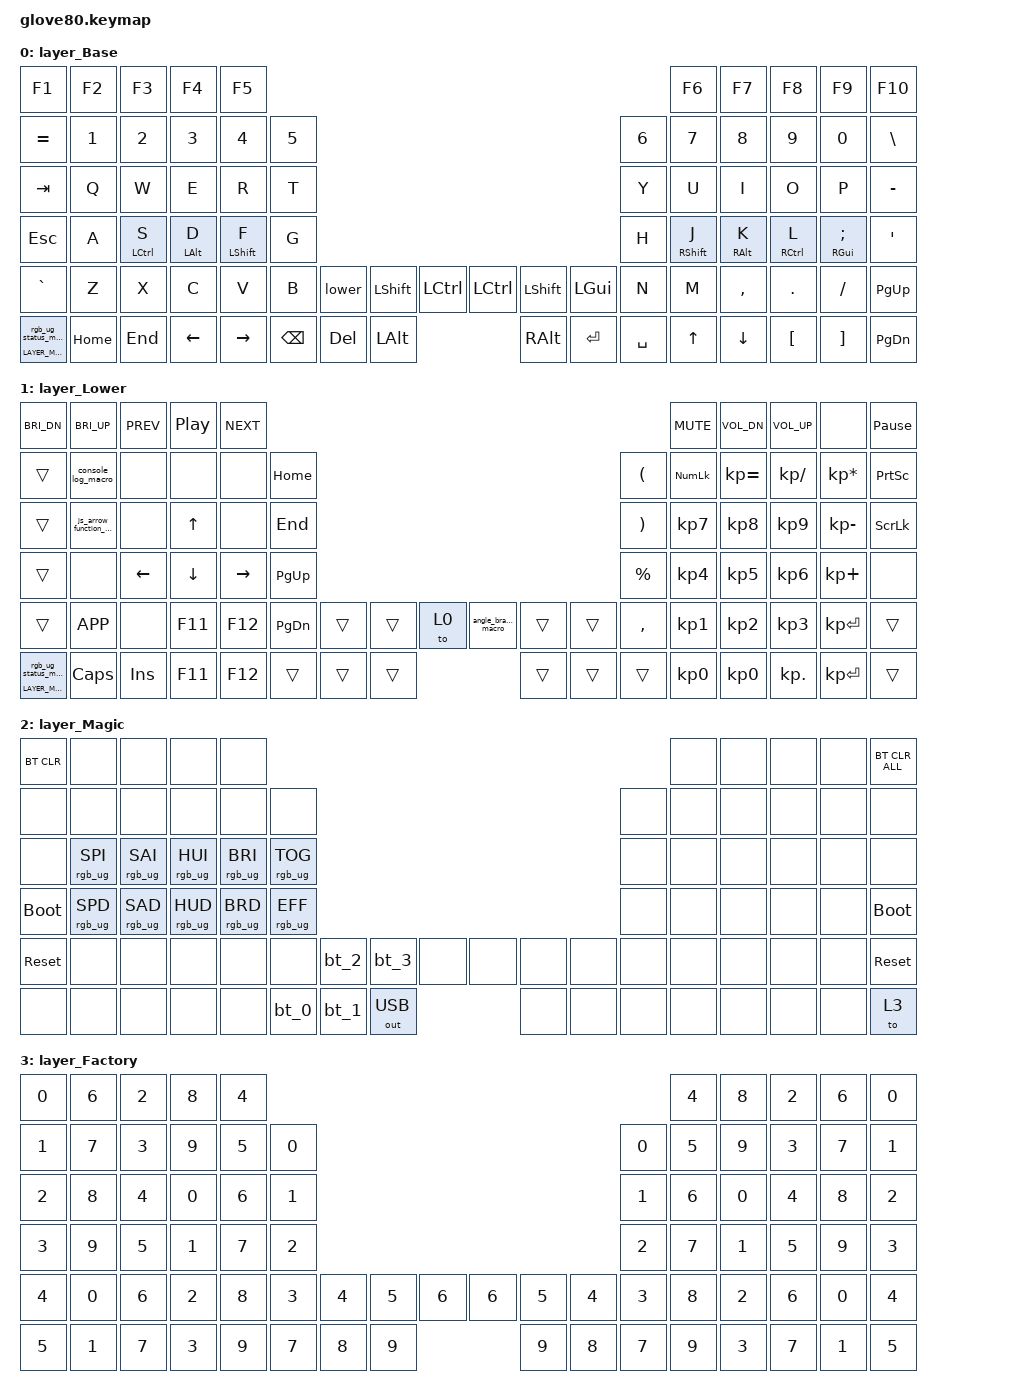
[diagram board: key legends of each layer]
/*
 * Copyright (c) 2020 The ZMK Contributors
 * Copyright (c) 2025 Innaworks Development Limited, trading as MoErgo
 *
 * SPDX-License-Identifier: MIT
 */


/* THIS FILE WAS GENERATED BY GLOVE80 LAYOUT EDITOR
 *
 * This file was generated automatically. You may or may not want to
 * edit it directly.
 */

#include <behaviors.dtsi>
/* Include all behavior includes needed */
#include <dt-bindings/zmk/outputs.h>
#include <dt-bindings/zmk/keys.h>
#include <dt-bindings/zmk/bt.h>
#include <dt-bindings/zmk/rgb.h>

/* On demand includes */


/* Automatically generated layer name #define */
#define LAYER_Base 0
#define LAYER_Lower 1
#define LAYER_Magic 2
#define LAYER_Factory 3

/* To deal with the situation where there is no Lower layer, to keep &lower happy */
#ifndef LAYER_Lower
#define LAYER_Lower 0
#endif

/* Custom Device-tree */


/* Input Listeners */


/* System behavior and Macros */
/ {
    behaviors {
        // For the "layer" key, it'd nice to be able to use it as either a shift or a toggle.
        // Configure it as a tap dance, so the first tap (or hold) is a &mo and the second tap is a &to
        lower: lower {
            compatible = "zmk,behavior-tap-dance";
            label = "LAYER_TAP_DANCE";
            #binding-cells = <0>;
            tapping-term-ms = <200>;
            bindings = <&mo LAYER_Lower>, <&to LAYER_Lower>;
        };
    };
};

/ {
    macros {
        rgb_ug_status_macro: rgb_ug_status_macro {
            label = "RGB_UG_STATUS";
            compatible = "zmk,behavior-macro";
            #binding-cells = <0>;
            bindings
                = <&rgb_ug RGB_STATUS>;
        };
    };
};


/ {
#ifdef BT_DISC_CMD
    behaviors {
        bt_0: bt_0 {
            compatible = "zmk,behavior-tap-dance";
            label = "BT_0";
            #binding-cells = <0>;
            tapping-term-ms = <200>;
            bindings = <&bt_select_0>, <&bt BT_DISC 0>;
        };
        bt_1: bt_1 {
            compatible = "zmk,behavior-tap-dance";
            label = "BT_1";
            #binding-cells = <0>;
            tapping-term-ms = <200>;
            bindings = <&bt_select_1>, <&bt BT_DISC 1>;
        };
        bt_2: bt_2 {
            compatible = "zmk,behavior-tap-dance";
            label = "BT_2";
            #binding-cells = <0>;
            tapping-term-ms = <200>;
            bindings = <&bt_select_2>, <&bt BT_DISC 2>;
        };
        bt_3: bt_3 {
            compatible = "zmk,behavior-tap-dance";
            label = "BT_3";
            #binding-cells = <0>;
            tapping-term-ms = <200>;
            bindings = <&bt_select_3>, <&bt BT_DISC 3>;
        };
    };
    macros {
        bt_select_0: bt_select_0 {
            label = "BT_SELECT_0";
            compatible = "zmk,behavior-macro";
            #binding-cells = <0>;
            bindings
                = <&out OUT_BLE>,
                  <&bt BT_SEL 0>;
        };
        bt_select_1: bt_select_1 {
            label = "BT_SELECT_1";
            compatible = "zmk,behavior-macro";
            #binding-cells = <0>;
            bindings
                = <&out OUT_BLE>,
                  <&bt BT_SEL 1>;
        };
        bt_select_2: bt_select_2 {
            label = "BT_SELECT_2";
            compatible = "zmk,behavior-macro";
            #binding-cells = <0>;
            bindings
                = <&out OUT_BLE>,
                  <&bt BT_SEL 2>;
        };
        bt_select_3: bt_select_3 {
            label = "BT_SELECT_3";
            compatible = "zmk,behavior-macro";
            #binding-cells = <0>;
            bindings
                = <&out OUT_BLE>,
                  <&bt BT_SEL 3>;
        };
    };
#else
    macros {
        bt_0: bt_0 {
            label = "BT_0";
            compatible = "zmk,behavior-macro";
            #binding-cells = <0>;
            bindings
                = <&out OUT_BLE>,
                  <&bt BT_SEL 0>;
        };
        bt_1: bt_1 {
            label = "BT_1";
            compatible = "zmk,behavior-macro";
            #binding-cells = <0>;
            bindings
                = <&out OUT_BLE>,
                  <&bt BT_SEL 1>;
        };
        bt_2: bt_2 {
            label = "BT_2";
            compatible = "zmk,behavior-macro";
            #binding-cells = <0>;
            bindings
                = <&out OUT_BLE>,
                  <&bt BT_SEL 2>;
        };
        bt_3: bt_3 {
            label = "BT_3";
            compatible = "zmk,behavior-macro";
            #binding-cells = <0>;
            bindings
                = <&out OUT_BLE>,
                  <&bt BT_SEL 3>;
        };
    };
#endif
};

/ {
    behaviors {
        magic: magic {
            compatible = "zmk,behavior-hold-tap";
            label = "MAGIC_HOLD_TAP";
            #binding-cells = <2>;
            flavor = "tap-preferred";
            tapping-term-ms = <200>;
            bindings = <&mo>, <&rgb_ug_status_macro>;
        };
    };
};

/* #define for key positions */
#define POS_LH_T1 52
#define POS_LH_T2 53
#define POS_LH_T3 54
#define POS_LH_T4 69
#define POS_LH_T5 70
#define POS_LH_T6 71
#define POS_LH_C1R2 15
#define POS_LH_C1R3 27
#define POS_LH_C1R4 39
#define POS_LH_C1R5 51
#define POS_LH_C2R1 4
#define POS_LH_C2R2 14
#define POS_LH_C2R3 26
#define POS_LH_C2R4 38
#define POS_LH_C2R5 50
#define POS_LH_C2R6 68
#define POS_LH_C3R1 3
#define POS_LH_C3R2 13
#define POS_LH_C3R3 25
#define POS_LH_C3R4 37
#define POS_LH_C3R5 49
#define POS_LH_C3R6 67
#define POS_LH_C4R1 2
#define POS_LH_C4R2 12
#define POS_LH_C4R3 24
#define POS_LH_C4R4 36
#define POS_LH_C4R5 48
#define POS_LH_C4R6 66
#define POS_LH_C5R1 1
#define POS_LH_C5R2 11
#define POS_LH_C5R3 23
#define POS_LH_C5R4 35
#define POS_LH_C5R5 47
#define POS_LH_C5R6 65
#define POS_LH_C6R1 0
#define POS_LH_C6R2 10
#define POS_LH_C6R3 22
#define POS_LH_C6R4 34
#define POS_LH_C6R5 46
#define POS_LH_C6R6 64
#define POS_RH_T1 57
#define POS_RH_T2 56
#define POS_RH_T3 55
#define POS_RH_T4 74
#define POS_RH_T5 73
#define POS_RH_T6 72
#define POS_RH_C1R2 16
#define POS_RH_C1R3 28
#define POS_RH_C1R4 40
#define POS_RH_C1R5 58
#define POS_RH_C2R1 5
#define POS_RH_C2R2 17
#define POS_RH_C2R3 29
#define POS_RH_C2R4 41
#define POS_RH_C2R5 59
#define POS_RH_C2R6 75
#define POS_RH_C3R1 6
#define POS_RH_C3R2 18
#define POS_RH_C3R3 30
#define POS_RH_C3R4 42
#define POS_RH_C3R5 60
#define POS_RH_C3R6 76
#define POS_RH_C4R1 7
#define POS_RH_C4R2 19
#define POS_RH_C4R3 31
#define POS_RH_C4R4 43
#define POS_RH_C4R5 61
#define POS_RH_C4R6 77
#define POS_RH_C5R1 8
#define POS_RH_C5R2 20
#define POS_RH_C5R3 32
#define POS_RH_C5R4 44
#define POS_RH_C5R5 62
#define POS_RH_C5R6 78
#define POS_RH_C6R1 9
#define POS_RH_C6R2 21
#define POS_RH_C6R3 33
#define POS_RH_C6R4 45
#define POS_RH_C6R5 63
#define POS_RH_C6R6 79

/* Custom Defined Behaviors */
/ {

};

/* Automatically generated macro definitions */
/ {
    macros {

        parens_macro: parens_macro {
            label = "&PARENS_MACRO";
            compatible = "zmk,behavior-macro";
            #binding-cells = <0>;
            bindings = <&kp LPAR>
                , <&kp RPAR>
                , <&kp LEFT>;
        };

        bracket_macro: bracket_macro {
            label = "&BRACKET_MACRO";
            compatible = "zmk,behavior-macro";
            #binding-cells = <0>;
            bindings = <&kp LBKT>
                , <&kp RBKT>
                , <&kp LEFT>;
        };

        curly_macro: curly_macro {
            label = "&CURLY_MACRO";
            compatible = "zmk,behavior-macro";
            #binding-cells = <0>;
            bindings = <&kp LBRC>
                , <&kp RBRC>
                , <&kp LEFT>;
        };

        double_quote_macro: double_quote_macro {
            label = "&DOUBLE_QUOTE_MACRO";
            compatible = "zmk,behavior-macro";
            #binding-cells = <0>;
            bindings = <&kp DQT>
                , <&kp DQT>
                , <&kp LEFT>;
        };

        single_quote_macro: single_quote_macro {
            label = "&SINGLE_QUOTE_MACRO";
            compatible = "zmk,behavior-macro";
            #binding-cells = <0>;
            bindings = <&kp SQT>
                , <&kp SQT>
                , <&kp LEFT>;
        };

        // Ctrl + S
        save_file_macro: save_file_macro {
            label = "&SAVE_FILE_MACRO";
            compatible = "zmk,behavior-macro";
            #binding-cells = <0>;
            bindings = <&kp LCTRL>
                , <&kp S>;
        };

        // <> + left
        angle_brackets_macro: angle_brackets_macro {
            label = "&ANGLE_BRACKETS_MACRO";
            compatible = "zmk,behavior-macro";
            #binding-cells = <0>;
            bindings = <&kp LT>
                , <&kp GT>
                , <&kp LEFT>;
        };

        // ->
        arrow_operator_macro: arrow_operator_macro {
            label = "&ARROW_OPERATOR_MACRO";
            compatible = "zmk,behavior-macro";
            #binding-cells = <0>;
            bindings = <&kp KP_MINUS>
                , <&kp GT>;
        };

        // =>
        fat_arrow_macro: fat_arrow_macro {
            label = "&FAT_ARROW_MACRO";
            compatible = "zmk,behavior-macro";
            #binding-cells = <0>;
            bindings = <&kp KP_EQUAL>
                , <&kp GT>;
        };

        // Ctrl + Z
        undo_macro: undo_macro {
            label = "&UNDO_MACRO";
            compatible = "zmk,behavior-macro";
            #binding-cells = <0>;
            bindings = <&kp LCTRL>
                , <&kp Z>;
        };

        // Ctrl + Y
        redo_macro: redo_macro {
            label = "&REDO_MACRO";
            compatible = "zmk,behavior-macro";
            #binding-cells = <0>;
            bindings = <&kp LCTRL>
                , <&kp Y>;
        };

        // const variableName = () => { };
        js_arrow_function_macro: js_arrow_function_macro {
            label = "&JS_ARROW_FUNCTION_MACRO";
            compatible = "zmk,behavior-macro";
            #binding-cells = <0>;
            bindings = <&kp C>
                , <&kp O>
                , <&kp N>
                , <&kp S>
                , <&kp T>
                , <&kp SPACE>
                , <&kp V>
                , <&kp A>
                , <&kp R>
                , <&kp N>
                , <&kp A>
                , <&kp M>
                , <&kp E>
                , <&kp SPACE>
                , <&kp EQUAL>
                , <&kp SPACE>
                , <&kp LPAR>
                , <&kp RPAR>
                , <&kp SPACE>
                , <&kp EQUAL>
                , <&kp GT>
                , <&kp SPACE>
                , <&kp LBRC>
                , <&kp SPACE>
                , <&kp SPACE>
                , <&kp RBRC>
                , <&kp SEMI>
                , <&kp LEFT>
                , <&kp LEFT>
                , <&kp LEFT>;
        };

        // console.log();
        console_log_macro: console_log_macro {
            label = "&CONSOLE_LOG_MACRO";
            compatible = "zmk,behavior-macro";
            #binding-cells = <0>;
            bindings = <&kp C>
                , <&kp O>
                , <&kp N>
                , <&kp S>
                , <&kp O>
                , <&kp L>
                , <&kp E>
                , <&kp DOT>
                , <&kp L>
                , <&kp O>
                , <&kp G>
                , <&kp LPAR>
                , <&kp RPAR>
                , <&kp SEMI>
                , <&kp LEFT>
                , <&kp LEFT>;
        };

        // `` + left
        backtick_macro: backtick_macro {
            label = "&BACKTICK_MACRO";
            compatible = "zmk,behavior-macro";
            #binding-cells = <0>;
            bindings = <&kp GRAVE>
                , <&kp GRAVE>
                , <&kp LEFT>;
        };
    };
};

/* Automatically generated behavior definitions */
/ {
    behaviors {

        // left home row mod keys
        HRM_LEFT: HRM_LEFT {
            compatible = "zmk,behavior-hold-tap";
            #binding-cells = <2>;
            tapping-term-ms = <200>;
            bindings = <&kp>, <&kp>;
            flavor = "balanced";
            quick-tap-ms = <300>;
            require-prior-idle-ms = <150>;
            retro-tap;
            hold-trigger-key-positions = <79 17 29 41 7 18 19 21 30 31 33 43 44 61 62 78 16 20 32 42 45 52 53 54 56 57 60 63 69 70 71 72 73 75 76 77 74 58 59 40 28 5 6 8 9 55>;
            hold-trigger-on-release;
        };

        // right home row mod keys
        HRM_RIGHT: HRM_RIGHT {
            compatible = "zmk,behavior-hold-tap";
            #binding-cells = <2>;
            tapping-term-ms = <200>;
            bindings = <&kp>, <&kp>;
            flavor = "balanced";
            quick-tap-ms = <300>;
            require-prior-idle-ms = <150>;
            retro-tap;
            hold-trigger-key-positions = <0 1 4 10 11 12 13 14 15 22 23 24 25 26 27 34 35 36 37 38 39 46 47 48 49 50 51 52 53 54 55 56 57 64 65 66 67 68 69 70 71 72 73 74 2 3>;
            hold-trigger-on-release;
        };

        // right index finger home row mod keys
        HRM_RIGHT_INDEX: HRM_RIGHT_INDEX {
            compatible = "zmk,behavior-hold-tap";
            #binding-cells = <2>;
            tapping-term-ms = <170>;
            bindings = <&kp>, <&kp>;
            flavor = "balanced";
            quick-tap-ms = <300>;
            require-prior-idle-ms = <100>;
            retro-tap;
            hold-trigger-key-positions = <0 1 4 10 11 12 13 14 15 22 23 24 25 26 27 34 35 36 37 38 39 46 47 48 49 50 51 52 53 54 55 56 57 64 65 66 67 68 69 70 71 72 73 74 2 3>;
            hold-trigger-on-release;
        };

        // left index finger home row mod keys
        HRM_LEFT_INDEX: HRM_LEFT_INDEX {
            compatible = "zmk,behavior-hold-tap";
            #binding-cells = <2>;
            tapping-term-ms = <170>;
            bindings = <&kp>, <&kp>;
            flavor = "balanced";
            quick-tap-ms = <300>;
            require-prior-idle-ms = <100>;
            retro-tap;
            hold-trigger-key-positions = <79 17 29 41 7 18 19 21 30 31 33 43 44 61 62 78 16 20 32 42 45 52 53 54 56 57 60 63 69 70 71 72 73 75 76 77 74 58 59 40 28 5 6 8 9 55>;
            hold-trigger-on-release;
        };
    };
};

/* Automatically generated combos definitions */
/ {
      combos {
          compatible = "zmk,combos";
                  combo_capsword {
            timeout-ms = <200>;
            key-positions = <71 57>;
            bindings = <&caps_word>;
            layers = <0>;
        };

        // open and close single quotes
        combo_single_quotes {
            timeout-ms = <200>;
            key-positions = <71 55>;
            bindings = <&single_quote_macro>;
            layers = <0>;
        };

        // open and close parenthesis
        combo_parenthesis {
            timeout-ms = <200>;
            key-positions = <72 52>;
            bindings = <&parens_macro>;
            layers = <0>;
        };

        // open and close double quotes
        combo_double_quotes {
            timeout-ms = <200>;
            key-positions = <71 56>;
            bindings = <&double_quote_macro>;
            layers = <0>;
        };

        // open and close curly braces
        combo_curly_braces {
            timeout-ms = <200>;
            key-positions = <72 54>;
            bindings = <&curly_macro>;
            layers = <0>;
        };

        // open and close brackets
        combo_brackets {
            timeout-ms = <200>;
            key-positions = <72 53>;
            bindings = <&bracket_macro>;
            layers = <0>;
        };

        // open and close backticks for code formatting
        combo_backtick_combo {
            timeout-ms = <200>;
            key-positions = <52 46>;
            bindings = <&backtick_macro>;
            layers = <0>;
        };
      };
    };

/* Automatically generated keymap */
/ {
    keymap {
        compatible = "zmk,keymap";


        layer_Base {
            bindings = <
               &kp F1    &kp F2             &kp F3            &kp F4                   &kp F5                                                                                                     &kp F6             &kp F7              &kp F8                &kp F9    &kp F10
            &kp EQUAL    &kp N1             &kp N2            &kp N3                   &kp N4  &kp N5                                                                   &kp N6                    &kp N7             &kp N8              &kp N9                &kp N0   &kp BSLH
              &kp TAB     &kp Q              &kp W             &kp E                    &kp R   &kp T                                                                    &kp Y                     &kp U              &kp I               &kp O                 &kp P  &kp MINUS
              &kp ESC     &kp A  &HRM_LEFT LCTRL S  &HRM_LEFT LALT D  &HRM_LEFT_INDEX LSHFT F   &kp G                                                                    &kp H  &HRM_RIGHT_INDEX RSHFT J  &HRM_RIGHT RALT K  &HRM_RIGHT RCTRL L  &HRM_RIGHT RGUI SEMI    &kp SQT
            &kp GRAVE     &kp Z              &kp X             &kp C                    &kp V   &kp B    &lower  &kp LSHFT  &kp LCTRL  &kp LCTRL  &kp LSHFT   &kp LGUI   &kp N                     &kp M          &kp COMMA             &kp DOT              &kp FSLH  &kp PG_UP
 &magic LAYER_Magic 0  &kp HOME            &kp END          &kp LEFT                &kp RIGHT          &kp BSPC    &kp DEL   &kp LALT   &kp RALT    &kp RET  &kp SPACE                            &kp UP           &kp DOWN            &kp LBKT              &kp RBKT  &kp PG_DN
            >;
        };

        layer_Lower {
            bindings = <
         &kp C_BRI_DN              &kp C_BRI_UP      &kp C_PREV        &kp C_PP       &kp C_NEXT                                                                                                   &kp C_MUTE  &kp C_VOL_DN  &kp C_VOL_UP            &none  &kp PAUSE_BREAK
               &trans        &console_log_macro           &none           &none            &none   &kp HOME                                                                  &kp LEFT_PARENTHESIS  &kp KP_NUM  &kp KP_EQUAL  &kp KP_SLASH  &kp KP_MULTIPLY  &kp PRINTSCREEN
               &trans  &js_arrow_function_macro           &none    &kp UP_ARROW            &none    &kp END                                                                 &kp RIGHT_PARENTHESIS   &kp KP_N7     &kp KP_N8     &kp KP_N9     &kp KP_MINUS   &kp SCROLLLOCK
               &trans                     &none  &kp LEFT_ARROW  &kp DOWN_ARROW  &kp RIGHT_ARROW  &kp PG_UP                                                                           &kp PERCENT   &kp KP_N4     &kp KP_N5     &kp KP_N6      &kp KP_PLUS            &none
               &trans                 &kp K_APP           &none         &kp F11          &kp F12  &kp PG_DN  &trans  &trans   &to 0  &angle_brackets_macro  &trans  &trans              &kp COMMA   &kp KP_N1     &kp KP_N2     &kp KP_N3     &kp KP_ENTER           &trans
 &magic LAYER_Magic 0                  &kp CAPS         &kp INS         &kp F11          &kp F12             &trans  &trans  &trans                 &trans  &trans  &trans                          &kp KP_N0     &kp KP_N0    &kp KP_DOT     &kp KP_ENTER           &trans
            >;
        };

        layer_Magic {
            bindings = <
  &bt BT_CLR            &none            &none            &none            &none                                                                                  &none   &none   &none   &none  &bt BT_CLR_ALL
       &none            &none            &none            &none            &none            &none                                                         &none   &none   &none   &none   &none           &none
       &none  &rgb_ug RGB_SPI  &rgb_ug RGB_SAI  &rgb_ug RGB_HUI  &rgb_ug RGB_BRI  &rgb_ug RGB_TOG                                                         &none   &none   &none   &none   &none           &none
 &bootloader  &rgb_ug RGB_SPD  &rgb_ug RGB_SAD  &rgb_ug RGB_HUD  &rgb_ug RGB_BRD  &rgb_ug RGB_EFF                                                         &none   &none   &none   &none   &none     &bootloader
  &sys_reset            &none            &none            &none            &none            &none   &bt_2   &bt_3         &none   &none   &none   &none   &none   &none   &none   &none   &none      &sys_reset
       &none            &none            &none            &none            &none                    &bt_0   &bt_1  &out OUT_USB   &none   &none   &none           &none   &none   &none   &none           &to 3
            >;
        };

        layer_Factory {
            bindings = <
 &kp NUMBER_0  &kp NUMBER_6  &kp NUMBER_2  &kp NUMBER_8  &kp NUMBER_4                                                                                                                  &kp NUMBER_4  &kp NUMBER_8  &kp NUMBER_2  &kp NUMBER_6  &kp NUMBER_0
 &kp NUMBER_1  &kp NUMBER_7  &kp NUMBER_3  &kp NUMBER_9  &kp NUMBER_5  &kp NUMBER_0                                                                                      &kp NUMBER_0  &kp NUMBER_5  &kp NUMBER_9  &kp NUMBER_3  &kp NUMBER_7  &kp NUMBER_1
 &kp NUMBER_2  &kp NUMBER_8  &kp NUMBER_4  &kp NUMBER_0  &kp NUMBER_6  &kp NUMBER_1                                                                                      &kp NUMBER_1  &kp NUMBER_6  &kp NUMBER_0  &kp NUMBER_4  &kp NUMBER_8  &kp NUMBER_2
 &kp NUMBER_3  &kp NUMBER_9  &kp NUMBER_5  &kp NUMBER_1  &kp NUMBER_7  &kp NUMBER_2                                                                                      &kp NUMBER_2  &kp NUMBER_7  &kp NUMBER_1  &kp NUMBER_5  &kp NUMBER_9  &kp NUMBER_3
 &kp NUMBER_4  &kp NUMBER_0  &kp NUMBER_6  &kp NUMBER_2  &kp NUMBER_8  &kp NUMBER_3  &kp NUMBER_4  &kp NUMBER_5  &kp NUMBER_6  &kp NUMBER_6  &kp NUMBER_5  &kp NUMBER_4  &kp NUMBER_3  &kp NUMBER_8  &kp NUMBER_2  &kp NUMBER_6  &kp NUMBER_0  &kp NUMBER_4
 &kp NUMBER_5  &kp NUMBER_1  &kp NUMBER_7  &kp NUMBER_3  &kp NUMBER_9                &kp NUMBER_7  &kp NUMBER_8  &kp NUMBER_9  &kp NUMBER_9  &kp NUMBER_8  &kp NUMBER_7                &kp NUMBER_9  &kp NUMBER_3  &kp NUMBER_7  &kp NUMBER_1  &kp NUMBER_5
            >;
        };

    };
};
